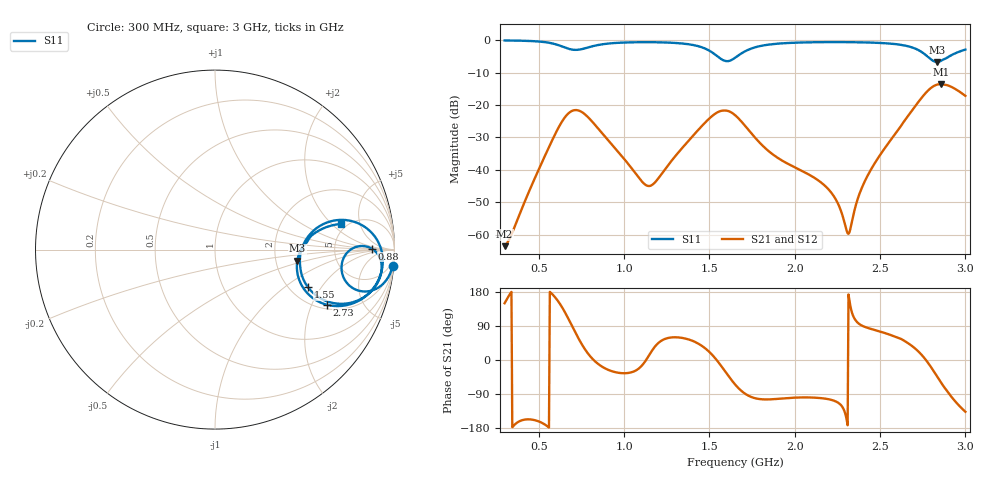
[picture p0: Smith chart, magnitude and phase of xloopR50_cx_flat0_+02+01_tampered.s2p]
! xloopR50_cx_flat0_+02+01_tampered, gap C 0.80 pF
! simulated by sim/fixtures_fdtd.py (S12 = S21, S22 not computed)
# HZ S RI R 50
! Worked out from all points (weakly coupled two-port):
!   541 points, 300 MHz to 3 GHz, reference 50 ohm
!   highest |S21| = -13.51 dB at 2.855 GHz (marker M1); lowest = -63.5 dB at 300 MHz (marker M2)
!   lowest |S11| = -6.7 dB at 2.835 GHz (marker M3), VSWR 2.72, Z = 132 - j20.7 ohm
!   |S11| at or under -10 dB: nowhere
!   |S22| runs from - to - dB; largest |S21 - S12| = 0
!   S11 on the Smith chart (normalised r, x): 300 MHz: 1, -21; 880 MHz: 15, +1; 1.55 GHz: 2.49, -1.51; 2.73 GHz: 2.19, -2.59; 3 GHz: 4.48, +2.65
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3e8  0.9896 -0.0927  -0.000575 0.000334  -0.000575 0.000334  0 0
3.4e8  0.9852 -0.1083  -0.00101 5.5e-06  -0.00101 5.5e-06  0 0
5e8  0.9385 -0.1889  -0.00966 -0.00313  -0.00966 -0.00313  0 0
6.25e8  0.7924 -0.2262  -0.0419 0.0266  -0.0419 0.0266  0 0
6.9e8  0.7097 -0.1371  -0.00618 0.0799  -0.00618 0.0799  0 0
7.5e8  0.7271 -0.0287  0.0574 0.0541  0.0574 0.0541  0 0
8.8e8  0.8729 0.00576  0.0326 -0.0119  0.0326 -0.0119  0 0
1.12e9  0.9278 -0.116  0.006 -0.000621  0.006 -0.000621  0 0
1.2e9  0.9174 -0.1588  0.00525 0.00517  0.00525 0.00517  0 0
1.395e9  0.8083 -0.2772  0.0196 0.0248  0.0196 0.0248  0 0
1.55e9  0.5174 -0.2086  0.0778 -0.00586  0.0778 -0.00586  0 0
1.65e9  0.5297 0.0859  0.0304 -0.0632  0.0304 -0.0632  0 0
1.83e9  0.8353 0.1259  -0.00519 -0.0207  -0.00519 -0.0207  0 0
2.1e9  0.9316 -0.0243  -0.00125 -0.00789  -0.00125 -0.00789  0 0
2.23e9  0.9342 -0.083  -0.00116 -0.00372  -0.00116 -0.00372  0 0
2.315e9  0.9279 -0.1209  -0.00102 0.000126  -0.00102 0.000126  0 0
2.4e9  0.9146 -0.1603  5.81e-05 0.00581  5.81e-05 0.00581  0 0
2.55e9  0.8595 -0.2416  0.00985 0.0242  0.00985 0.0242  0 0
2.73e9  0.6223 -0.307  0.1097 0.04  0.1097 0.04  0 0
2.835e9  0.4585 -0.0614  0.1493 -0.1439  0.1493 -0.1439  0 0
2.855e9  0.478 -0.00142  0.112 -0.1789  0.112 -0.1789  0 0
3e9  0.7045 0.143  -0.1009 -0.0952  -0.1009 -0.0952  0 0
